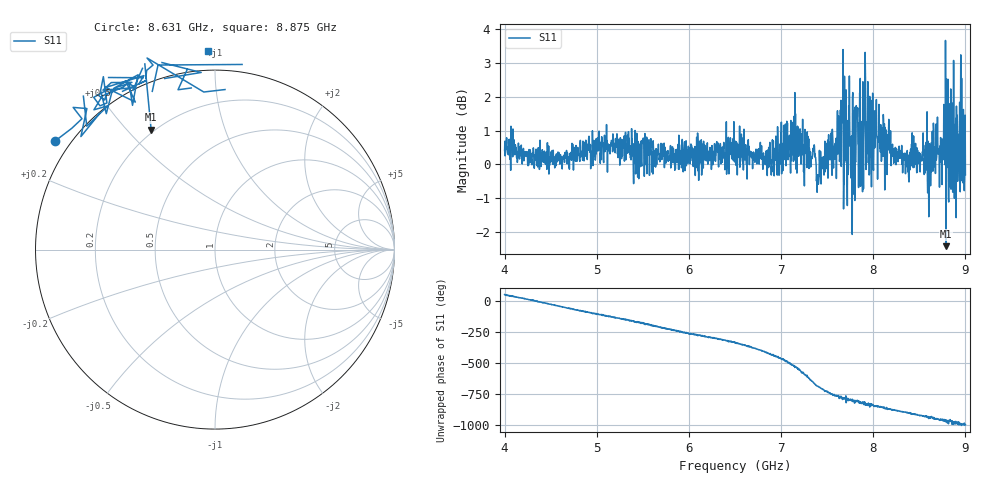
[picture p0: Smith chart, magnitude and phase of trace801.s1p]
! Created with skrf 1.8.0 (http://scikit-rf.org).
# Hz S RI R 50.0
!freq ReS11 ImS11
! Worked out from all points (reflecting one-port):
!   1601 points, 4 GHz to 9 GHz, reference 50 ohm
!   lowest |S11| = -2.4 dB at 8.791 GHz (marker M1), VSWR 7.25, Z = 9.32 + j29.3 ohm
!   phase of S11 starts at 51 deg and turns -1052 deg over the sweep
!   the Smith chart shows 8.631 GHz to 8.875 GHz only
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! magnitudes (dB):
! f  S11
! 4 GHz  0.4
! 4.625 GHz  -0.1
! 5.25 GHz  0.0
! 5.875 GHz  0.1
! 6.5 GHz  0.1
! 6.875 GHz  0.5
! 7.125 GHz  0.6
! 7.353 GHz  0.4
! 7.409 GHz  -0.5
! 7.591 GHz  0.2
! 7.647 GHz  1.5
! 7.681 GHz  -0.5
! 7.703 GHz  0.3
! 7.75 GHz  0.8
! 7.784 GHz  0.4
! 7.834 GHz  0.6
! 7.859 GHz  2.5
! 7.928 GHz  0.3
! 7.981 GHz  -0.7
! 8.009 GHz  1.2
! 8.375 GHz  0.1
! 8.612 GHz  -0.4
! 8.678 GHz  0.8
! 8.738 GHz  0.0
! 8.791 GHz  -2.4
! 8.841 GHz  2.2
! 8.959 GHz  2.5
! 9 GHz  -0.3
